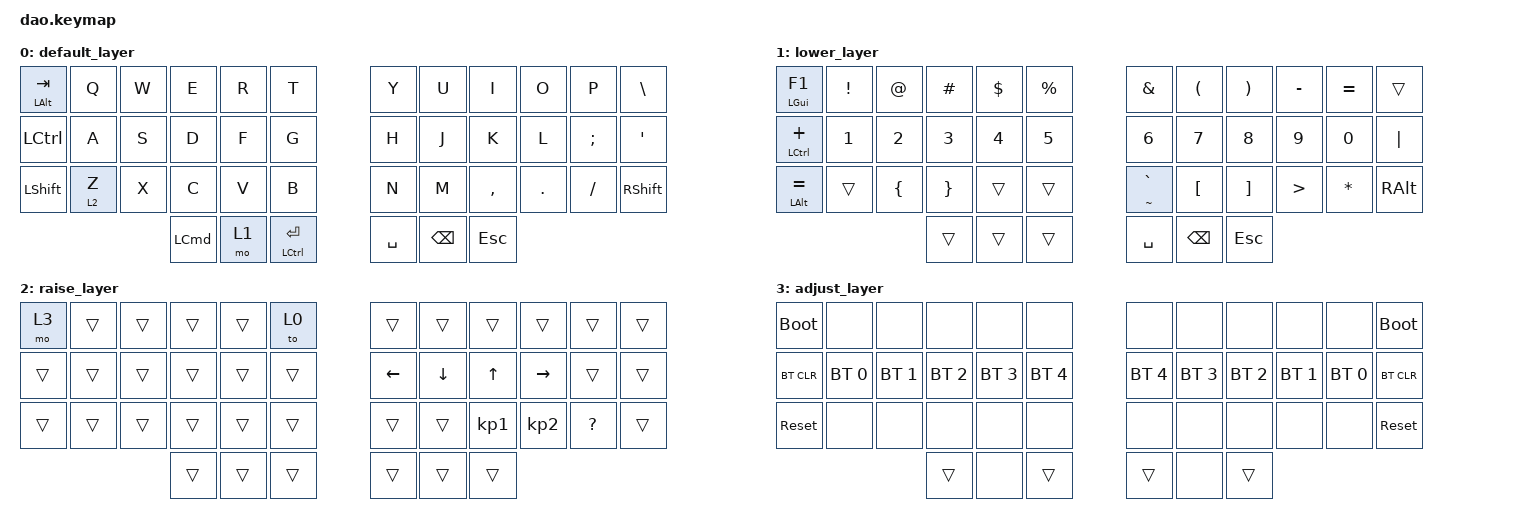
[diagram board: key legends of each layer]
/*
 * Copyright (c) 2021 Rafael Yumagulov
 *
 * SPDX-License-Identifier: MIT
 */

#include <behaviors.dtsi>
#include <dt-bindings/zmk/bt.h>
#include <dt-bindings/zmk/keys.h>

#define DEF 0
#define LWR 1
#define RSE 2
#define ADJ 3

&lt { quick_tap_ms = <200>; };

&mt { quick_tap_ms = <200>; };

/ {
    chosen {
        zmk,matrix_transform = &default_transform;

        // zmk,matrix_transform = &extra_keys_transform;
    };
};

/ {
    combos {
        compatible = "zmk,combos";

        strelka {
            bindings = <&add_arrow>;
            key-positions = <39 32>;
        };
    };

    macros {
        add_arrow: add_arrow {
            compatible = "zmk,behavior-macro";
            #binding-cells = <0>;
            bindings = <&kp MINUS &kp GT>;
            label = "ADD_ARROW";
        };
    };

    keymap {
        compatible = "zmk,keymap";

        default_layer {
            bindings = <
&mt LEFT_ALT TAB  &kp Q    &kp W  &kp E             &kp R  &kp T            &kp Y      &kp U          &kp I       &kp O    &kp P     &kp BACKSLASH
&kp LEFT_CONTROL  &kp A    &kp S  &kp D             &kp F  &kp G            &kp H      &kp J          &kp K       &kp L    &kp SEMI  &kp SQT
&kp LEFT_SHIFT    &lt 2 Z  &kp X  &kp C             &kp V  &kp B            &kp N      &kp M          &kp COMMA   &kp DOT  &kp FSLH  &kp RIGHT_SHIFT
                                  &kp LEFT_COMMAND  &mo 1  &mt LCTRL ENTER  &kp SPACE  &kp BACKSPACE  &kp ESCAPE
            >;
        };

        lower_layer {
            bindings = <
&mt LGUI F1     &kp EXCLAMATION  &kp AT_SIGN     &kp HASH         &kp DOLLAR    &kp PERCENT  &kp AMPERSAND    &kp LEFT_PARENTHESIS  &kp RIGHT_PARENTHESIS  &kp MINUS         &kp EQUAL     &trans
&mt LCTRL PLUS  &kp NUMBER_1     &kp NUMBER_2    &kp NUMBER_3     &kp NUMBER_4  &kp N5       &kp NUMBER_6     &kp N7                &kp N8                 &kp NUMBER_9      &kp N0        &kp PIPE
&mt LALT EQUAL  &trans           &kp LEFT_BRACE  &kp RIGHT_BRACE  &trans        &trans       &mt TILDE GRAVE  &kp LEFT_BRACKET      &kp RIGHT_BRACKET      &kp GREATER_THAN  &kp ASTERISK  &kp RALT
                                                 &trans           &trans        &trans       &kp SPACE        &kp BACKSPACE         &kp ESCAPE
            >;
        };

        raise_layer {
            bindings = <
&mo 3   &trans  &trans  &trans  &trans  &to 0   &trans          &trans    &trans        &trans           &trans        &trans
&trans  &trans  &trans  &trans  &trans  &trans  &kp LEFT_ARROW  &kp DOWN  &kp UP_ARROW  &kp RIGHT_ARROW  &trans        &trans
&trans  &trans  &trans  &trans  &trans  &trans  &trans          &trans    &kp KP_N1     &kp KP_N2        &kp QUESTION  &trans
                        &trans  &trans  &trans  &trans          &trans    &trans
            >;
        };

        adjust_layer {
            bindings = <
&bootloader  &none         &none         &none         &none         &none         &none         &none         &none         &none         &none         &bootloader
&bt BT_CLR   &bt BT_SEL 0  &bt BT_SEL 1  &bt BT_SEL 2  &bt BT_SEL 3  &bt BT_SEL 4  &bt BT_SEL 4  &bt BT_SEL 3  &bt BT_SEL 2  &bt BT_SEL 1  &bt BT_SEL 0  &bt BT_CLR
&sys_reset   &none         &none         &none         &none         &none         &none         &none         &none         &none         &none         &sys_reset
                                         &trans        &none         &trans        &trans        &none         &trans
            >;
        };
    };
};
